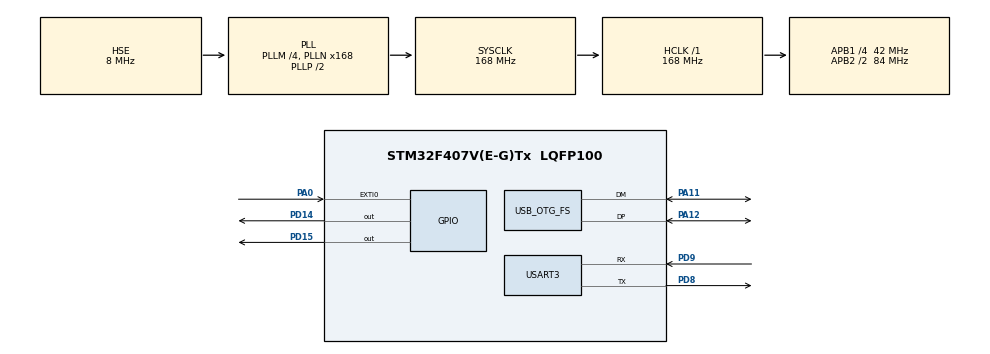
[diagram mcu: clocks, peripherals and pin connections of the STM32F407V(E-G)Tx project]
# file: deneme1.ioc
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Mcu.Family=STM32F4
Mcu.Name=STM32F407V(E-G)Tx
Mcu.Package=LQFP100
NVIC.EXTI0_IRQn=true\:0\:0\:false\:false\:true\:true\:true\:true
NVIC.OTG_FS_IRQn=true\:0\:0\:false\:false\:true\:false\:true\:true
NVIC.PriorityGroup=NVIC_PRIORITYGROUP_4
NVIC.TIM2_IRQn=true\:0\:0\:false\:false\:true\:true\:true\:true
PA0-WKUP.Signal=GPXTI0
PA11.Mode=Device_Only
PA11.Signal=USB_OTG_FS_DM
PA12.Mode=Device_Only
PA12.Signal=USB_OTG_FS_DP
PA13.Mode=Serial_Wire
PA13.Signal=SYS_JTMS-SWDIO
PA14.Mode=Serial_Wire
PA14.Signal=SYS_JTCK-SWCLK
PD14.Signal=GPIO_Output
PD15.Signal=GPIO_Output
PD8.Mode=Asynchronous
PD8.Signal=USART3_TX
PD9.Mode=Asynchronous
PD9.Signal=USART3_RX
PH0-OSC_IN.Mode=HSE-External-Oscillator
PH0-OSC_IN.Signal=RCC_OSC_IN
PH1-OSC_OUT.Mode=HSE-External-Oscillator
PH1-OSC_OUT.Signal=RCC_OSC_OUT
ProjectManager.HeapSize=0x200
ProjectManager.StackSize=0x400
ProjectManager.TargetToolchain=STM32CubeIDE
RCC.48MHZClocksFreq_Value=48000000
RCC.AHBFreq_Value=168000000
RCC.APB1CLKDivider=RCC_HCLK_DIV4
RCC.APB1Freq_Value=42000000
RCC.APB1TimFreq_Value=84000000
RCC.APB2CLKDivider=RCC_HCLK_DIV2
RCC.APB2Freq_Value=84000000
RCC.APB2TimFreq_Value=168000000
RCC.CortexFreq_Value=168000000
RCC.HCLKFreq_Value=168000000
RCC.HSE_VALUE=8000000
RCC.HSI_VALUE=16000000
RCC.LSE_VALUE=32.77
RCC.PLLM=4
RCC.PLLN=168
RCC.PLLQ=7
RCC.PLLSourceVirtual=RCC_PLLSOURCE_HSE
RCC.SYSCLKFreq_VALUE=168000000
RCC.SYSCLKSource=RCC_SYSCLKSOURCE_PLLCLK
RCC.VCOOutputFreq_Value=336000000
TIM2.Period=2000-1
TIM2.Prescaler=840-1
USART3.VirtualMode=VM_ASYNC
USB_DEVICE.CLASS_NAME_FS=CDC
USB_DEVICE.VirtualMode-CDC_FS=Cdc
USB_DEVICE.VirtualModeFS=Cdc_FS
USB_OTG_FS.VirtualMode=Device_Only
VP_TIM2_VS_ClockSourceINT.Mode=Internal
VP_USB_DEVICE_VS_USB_DEVICE_CDC_FS.Mode=CDC_FS
board=custom

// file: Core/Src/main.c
/* USER CODE BEGIN Header */
/**
  ******************************************************************************
  * @file           : main.c
  * @brief          : Main program body
  ******************************************************************************
  * @attention
  *
  * Copyright (c) 2023 STMicroelectronics.
  * All rights reserved.
  *
  * This software is licensed under terms that can be found in the LICENSE file
  * in the root directory of this software component.
  * If no LICENSE file comes with this software, it is provided AS-IS.
  *
  ******************************************************************************
  */
/* USER CODE END Header */
#include "main.h"
#include "usb_device.h"

/* USER CODE BEGIN Includes */
#include "usbd_cdc_if.h"
#include "string.h"
/* USER CODE END Includes */

TIM_HandleTypeDef htim2;

UART_HandleTypeDef huart3;

/* USER CODE BEGIN PV */
uint32_t counter;
char data[2000];
uint32_t size = 0;
uint8_t flag = 0;
/* USER CODE END PV */

void SystemClock_Config(void);
static void MX_GPIO_Init(void);
static void MX_USART3_UART_Init(void);
static void MX_TIM2_Init(void);

/* USER CODE BEGIN 0 */
void HAL_GPIO_EXTI_Callback(uint16_t GPIO_Pin)
{
	HAL_GPIO_WritePin(GPIOD,GPIO_PIN_15,GPIO_PIN_SET);
}
void HAL_TIM_PeriodElapsedCallback(TIM_HandleTypeDef *htim)
{
	flag = 1;
	counter++;
}
/* USER CODE END 0 */

int main(void)
{

  /* MCU Configuration--------------------------------------------------------*/

  /* Reset of all peripherals, Initializes the Flash interface and the Systick. */
  HAL_Init();

  /* Configure the system clock */
  SystemClock_Config();

  /* Initialize all configured peripherals */
  MX_GPIO_Init();
  MX_USART3_UART_Init();
  MX_TIM2_Init();
  MX_USB_DEVICE_Init();
  /* USER CODE BEGIN 2 */
  //HAL_TIM_Base_Start_IT(&htim2);

  /* USER CODE END 2 */

  /* Infinite loop */
  /* USER CODE BEGIN WHILE */
  while (1)
  {

	  HAL_Delay(250);
	  if(HAL_GPIO_ReadPin(GPIOA, GPIO_PIN_0) == 1){
		  HAL_TIM_Base_Start_IT(&htim2);
	  }
	  else {
		  HAL_TIM_Base_Stop_IT(&htim2);
		  if (flag) {
			  if (counter > 100) {
				  CDC_Transmit_FS((uint8_t *)"M/K\n", strlen("M/K\n"));
			  }
			  else if(counter > 20){
				  CDC_Transmit_FS((uint8_t *)"MDAHK\n", strlen("MDAHK\n"));
			  }
			  else{
				  CDC_Transmit_FS((uint8_t *)"MDITK\n", strlen("MDITK\n"));
			  }
			  counter = 0;
			  flag = 0;
		}
	  }
    /* USER CODE END WHILE */

  }
}

void SystemClock_Config(void)
{
  RCC_OscInitTypeDef RCC_OscInitStruct = {0};
  RCC_ClkInitTypeDef RCC_ClkInitStruct = {0};

  /** Configure the main internal regulator output voltage
  */
  __HAL_RCC_PWR_CLK_ENABLE();
  __HAL_PWR_VOLTAGESCALING_CONFIG(PWR_REGULATOR_VOLTAGE_SCALE1);

  /** Initializes the RCC Oscillators according to the specified parameters
  * in the RCC_OscInitTypeDef structure.
  */
  RCC_OscInitStruct.OscillatorType = RCC_OSCILLATORTYPE_HSE;
  RCC_OscInitStruct.HSEState = RCC_HSE_ON;
  RCC_OscInitStruct.PLL.PLLState = RCC_PLL_ON;
  RCC_OscInitStruct.PLL.PLLSource = RCC_PLLSOURCE_HSE;
  RCC_OscInitStruct.PLL.PLLM = 4;
  RCC_OscInitStruct.PLL.PLLN = 168;
  RCC_OscInitStruct.PLL.PLLP = RCC_PLLP_DIV2;
  RCC_OscInitStruct.PLL.PLLQ = 7;
  if (HAL_RCC_OscConfig(&RCC_OscInitStruct) != HAL_OK)
  {
    Error_Handler();
  }

  /** Initializes the CPU, AHB and APB buses clocks
  */
  RCC_ClkInitStruct.ClockType = RCC_CLOCKTYPE_HCLK|RCC_CLOCKTYPE_SYSCLK
                              |RCC_CLOCKTYPE_PCLK1|RCC_CLOCKTYPE_PCLK2;
  RCC_ClkInitStruct.SYSCLKSource = RCC_SYSCLKSOURCE_PLLCLK;
  RCC_ClkInitStruct.AHBCLKDivider = RCC_SYSCLK_DIV1;
  RCC_ClkInitStruct.APB1CLKDivider = RCC_HCLK_DIV4;
  RCC_ClkInitStruct.APB2CLKDivider = RCC_HCLK_DIV2;

  if (HAL_RCC_ClockConfig(&RCC_ClkInitStruct, FLASH_LATENCY_5) != HAL_OK)
  {
    Error_Handler();
  }
}

static void MX_TIM2_Init(void)
{

  TIM_ClockConfigTypeDef sClockSourceConfig = {0};
  TIM_MasterConfigTypeDef sMasterConfig = {0};

  htim2.Instance = TIM2;
  htim2.Init.Prescaler = 840-1;
  htim2.Init.CounterMode = TIM_COUNTERMODE_UP;
  htim2.Init.Period = 2000-1;
  htim2.Init.ClockDivision = TIM_CLOCKDIVISION_DIV1;
  htim2.Init.AutoReloadPreload = TIM_AUTORELOAD_PRELOAD_DISABLE;
  if (HAL_TIM_Base_Init(&htim2) != HAL_OK)
  {
    Error_Handler();
  }
  sClockSourceConfig.ClockSource = TIM_CLOCKSOURCE_INTERNAL;
  if (HAL_TIM_ConfigClockSource(&htim2, &sClockSourceConfig) != HAL_OK)
  {
    Error_Handler();
  }
  sMasterConfig.MasterOutputTrigger = TIM_TRGO_RESET;
  sMasterConfig.MasterSlaveMode = TIM_MASTERSLAVEMODE_DISABLE;
  if (HAL_TIMEx_MasterConfigSynchronization(&htim2, &sMasterConfig) != HAL_OK)
  {
    Error_Handler();
  }

}

static void MX_USART3_UART_Init(void)
{

  huart3.Instance = USART3;
  huart3.Init.BaudRate = 115200;
  huart3.Init.WordLength = UART_WORDLENGTH_8B;
  huart3.Init.StopBits = UART_STOPBITS_1;
  huart3.Init.Parity = UART_PARITY_NONE;
  huart3.Init.Mode = UART_MODE_TX_RX;
  huart3.Init.HwFlowCtl = UART_HWCONTROL_NONE;
  huart3.Init.OverSampling = UART_OVERSAMPLING_16;
  if (HAL_UART_Init(&huart3) != HAL_OK)
  {
    Error_Handler();
  }

}

static void MX_GPIO_Init(void)
{
  GPIO_InitTypeDef GPIO_InitStruct = {0};

  /* GPIO Ports Clock Enable */
  __HAL_RCC_GPIOH_CLK_ENABLE();
  __HAL_RCC_GPIOA_CLK_ENABLE();
  __HAL_RCC_GPIOD_CLK_ENABLE();

  /*Configure GPIO pin Output Level */
  HAL_GPIO_WritePin(GPIOD, GPIO_PIN_14|GPIO_PIN_15, GPIO_PIN_RESET);

  /*Configure GPIO pin : PA0 */
  GPIO_InitStruct.Pin = GPIO_PIN_0;
  GPIO_InitStruct.Mode = GPIO_MODE_IT_RISING;
  GPIO_InitStruct.Pull = GPIO_NOPULL;
  HAL_GPIO_Init(GPIOA, &GPIO_InitStruct);

  /*Configure GPIO pins : PD14 PD15 */
  GPIO_InitStruct.Pin = GPIO_PIN_14|GPIO_PIN_15;
  GPIO_InitStruct.Mode = GPIO_MODE_OUTPUT_PP;
  GPIO_InitStruct.Pull = GPIO_NOPULL;
  GPIO_InitStruct.Speed = GPIO_SPEED_FREQ_LOW;
  HAL_GPIO_Init(GPIOD, &GPIO_InitStruct);

  /* EXTI interrupt init*/
  HAL_NVIC_SetPriority(EXTI0_IRQn, 0, 0);
  HAL_NVIC_EnableIRQ(EXTI0_IRQn);

}

void Error_Handler(void)
{
  __disable_irq();
  while (1)
  {
  }
}
